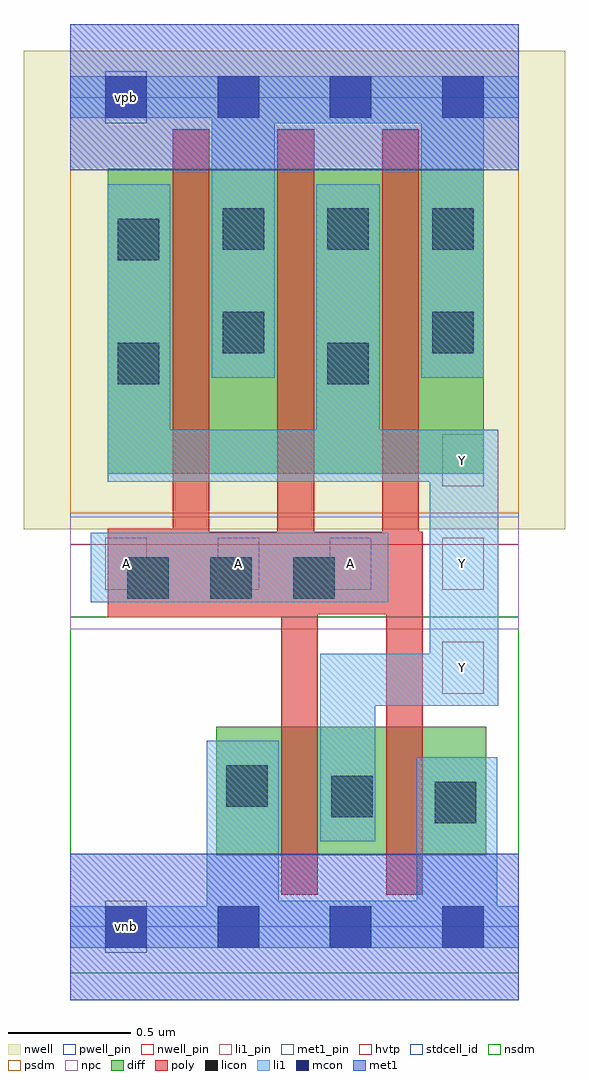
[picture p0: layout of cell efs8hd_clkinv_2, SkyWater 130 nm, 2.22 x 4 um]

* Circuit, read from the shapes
.subckt efs8hd_clkinv_2 A Y vgnd vnb vpb vpwr
XM1 Y A vgnd vnb sky130_fd_pr__nfet_01v8 w=0.525 l=0.15 m=2
XM2 vpwr A Y vpb sky130_fd_pr__pfet_01v8_hvt w=1.25 l=0.15 m=3
.ends

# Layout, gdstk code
import gdstk
lib = gdstk.Library(unit=1e-6, precision=1e-09)
def R(c, l, rs):  # rectangles x0, y0, x1, y1
    for r in rs: c.add(gdstk.rectangle(r[:2], r[2:], *l))
def A(c, l, x, y, w, h, nx, ny, dx, dy):  # array of equal rectangles
    R(c, l, [(x+i*dx, y+j*dy, x+i*dx+w, y+j*dy+h) for i in range(nx) for j in range(ny)])
def P(c, l, *ps):  # polygons
    for p in ps: c.add(gdstk.Polygon(p, *l))
nwell_pin = (64, 16)
nwell = (64, 20)
diff = (65, 20)
poly = (66, 20)
licon = (66, 44)
li1_pin = (67, 16)
li1 = (67, 20)
mcon = (67, 44)
met1_pin = (68, 16)
met1 = (68, 20)
hvtp = (78, 44)
stdcell_id = (81, 4)
nsdm = (93, 44)
psdm = (94, 20)
npc = (95, 20)
pwell_pin = (122, 16)

efs8hd_clkinv_2 = lib.new_cell('efs8hd_clkinv_2')
R(efs8hd_clkinv_2, nwell_pin, [(0.145,3.294,0.315,3.506)])
R(efs8hd_clkinv_2, nwell, [(-0.19,1.63,2.03,3.59)])
R(efs8hd_clkinv_2, diff, [(0.6,0.294,1.705,0.819), (0.155,1.856,1.695,3.106)])
P(efs8hd_clkinv_2, poly, [(1.28,3.269),(1.28,1.619),(1,1.619),(1,3.269),(0.85,3.269),(0.85,1.619),(0.57,1.619),(0.57,3.269),(0.42,3.269),(0.42,1.631),(0.155,1.631),(0.155,1.269),(0.865,1.269),(0.865,0.131),(1.015,0.131),(1.015,1.281),(1.295,1.281),(1.295,0.131),(1.445,0.131),(1.445,1.619),(1.43,1.619),(1.43,3.269)])
A(efs8hd_clkinv_2, licon, 0.235, 1.344, 0.17, 0.17, 3, 1, 0.34, 0)
R(efs8hd_clkinv_2, licon, [(1.495,0.424,1.665,0.594), (1.07,0.45,1.24,0.62), (0.64,0.493,0.81,0.663), (0.195,2.224,0.365,2.394), (1.055,2.224,1.225,2.394), (0.625,2.35,0.795,2.52), (1.485,2.35,1.655,2.52), (0.195,2.731,0.365,2.901), (1.055,2.774,1.225,2.944), (0.625,2.775,0.795,2.945), (1.485,2.775,1.655,2.945)])
A(efs8hd_clkinv_2, li1_pin, 0.145, 1.381, 0.17, 0.213, 4, 1, 0.46, 0)
R(efs8hd_clkinv_2, li1_pin, [(1.525,0.956,1.695,1.169), (1.525,1.806,1.695,2.019)])
R(efs8hd_clkinv_2, li1, [(0.085,1.331,1.305,1.615)])
P(efs8hd_clkinv_2, li1, [(0.56,0.763),(0.56,0.085),(0,0.085),(0,-0.085),(1.84,-0.085),(1.84,0.085),(1.75,0.085),(1.75,0.694),(1.42,0.694),(1.42,0.106),(0.855,0.106),(0.855,0.763)],
  [(1.01,3.044),(1.01,2.038),(0.41,2.038),(0.41,3.044),(0.155,3.044),(0.155,1.825),(1.475,1.825),(1.475,1.119),(1.025,1.119),(1.025,0.35),(1.25,0.35),(1.25,0.906),(1.755,0.906),(1.755,2.038),(1.27,2.038),(1.27,3.044)],
  [(0,3.485),(0,3.315),(0.58,3.315),(0.58,2.25),(0.84,2.25),(0.84,3.294),(1.44,3.294),(1.44,2.25),(1.695,2.25),(1.695,3.315),(1.84,3.315),(1.84,3.485)])
R(efs8hd_clkinv_2, mcon, [(0.145,-0.085,0.315,0.085), (0.145,-0.085,0.315,0.085), (0.145,-0.085,0.315,0.085), (0.145,-0.085,0.315,0.085), (0.145,-0.085,0.315,0.085), (0.145,-0.085,0.315,0.085), (0.145,-0.085,0.315,0.085), (0.145,-0.085,0.315,0.085), (0.145,-0.085,0.315,0.085), (0.145,-0.085,0.315,0.085), (0.145,-0.085,0.315,0.085), (0.145,-0.085,0.315,0.085), (0.145,-0.085,0.315,0.085), (0.145,-0.085,0.315,0.085), (0.145,-0.085,0.315,0.085), (0.145,-0.085,0.315,0.085), (0.145,-0.085,0.315,0.085), (0.145,-0.085,0.315,0.085), (0.145,-0.085,0.315,0.085), (0.145,-0.085,0.315,0.085), (0.145,-0.085,0.315,0.085), (0.145,-0.085,0.315,0.085), (0.145,-0.085,0.315,0.085), (0.145,-0.085,0.315,0.085), (0.145,-0.085,0.315,0.085), (0.145,-0.085,0.315,0.085), (0.145,-0.085,0.315,0.085), (0.145,-0.085,0.315,0.085), (0.145,-0.085,0.315,0.085), (0.145,-0.085,0.315,0.085), (0.145,-0.085,0.315,0.085), (0.145,-0.085,0.315,0.085), (0.145,-0.085,0.315,0.085), (0.145,-0.085,0.315,0.085), (0.145,-0.085,0.315,0.085), (0.145,-0.085,0.315,0.085), (0.145,-0.085,0.315,0.085), (0.145,-0.085,0.315,0.085), (0.145,-0.085,0.315,0.085), (0.145,-0.085,0.315,0.085), (0.145,-0.085,0.315,0.085), (0.145,-0.085,0.315,0.085), (0.145,-0.085,0.315,0.085), (0.145,-0.085,0.315,0.085), (0.145,-0.085,0.315,0.085), (0.145,-0.085,0.315,0.085), (0.145,-0.085,0.315,0.085), (0.145,-0.085,0.315,0.085), (0.145,-0.085,0.315,0.085), (0.145,-0.085,0.315,0.085), (0.145,-0.085,0.315,0.085), (0.145,-0.085,0.315,0.085), (0.145,-0.085,0.315,0.085), (0.145,-0.085,0.315,0.085), (0.145,-0.085,0.315,0.085), (0.145,-0.085,0.315,0.085), (0.145,-0.085,0.315,0.085), (0.145,-0.085,0.315,0.085), (0.145,-0.085,0.315,0.085), (0.145,-0.085,0.315,0.085), (0.145,-0.085,0.315,0.085), (0.145,-0.085,0.315,0.085), (0.145,-0.085,0.315,0.085), (0.145,-0.085,0.315,0.085), (0.145,-0.085,0.315,0.085), (0.145,-0.085,0.315,0.085), (0.145,-0.085,0.315,0.085), (0.145,-0.085,0.315,0.085), (0.145,-0.085,0.315,0.085), (0.145,-0.085,0.315,0.085), (0.145,-0.085,0.315,0.085), (0.145,-0.085,0.315,0.085), (0.145,-0.085,0.315,0.085), (0.145,-0.085,0.315,0.085), (0.145,-0.085,0.315,0.085), (0.145,-0.085,0.315,0.085), (0.145,-0.085,0.315,0.085), (0.145,-0.085,0.315,0.085), (0.145,-0.085,0.315,0.085), (0.145,-0.085,0.315,0.085), (0.145,-0.085,0.315,0.085), (0.145,-0.085,0.315,0.085), (0.145,-0.085,0.315,0.085), (0.145,-0.085,0.315,0.085), (0.145,-0.085,0.315,0.085), (0.145,-0.085,0.315,0.085), (0.145,-0.085,0.315,0.085), (0.145,-0.085,0.315,0.085), (0.145,-0.085,0.315,0.085), (0.145,-0.085,0.315,0.085), (0.145,-0.085,0.315,0.085), (0.145,-0.085,0.315,0.085), (0.145,-0.085,0.315,0.085), (0.145,-0.085,0.315,0.085), (0.145,-0.085,0.315,0.085), (0.145,-0.085,0.315,0.085), (0.145,-0.085,0.315,0.085), (0.145,-0.085,0.315,0.085), (0.145,-0.085,0.315,0.085), (0.145,-0.085,0.315,0.085), (0.145,-0.085,0.315,0.085), (0.145,-0.085,0.315,0.085), (0.145,-0.085,0.315,0.085), (0.145,-0.085,0.315,0.085), (0.145,-0.085,0.315,0.085), (0.145,-0.085,0.315,0.085), (0.145,-0.085,0.315,0.085), (0.145,-0.085,0.315,0.085), (0.145,-0.085,0.315,0.085), (0.605,-0.085,0.775,0.085), (0.605,-0.085,0.775,0.085), (0.605,-0.085,0.775,0.085), (0.605,-0.085,0.775,0.085), (0.605,-0.085,0.775,0.085), (0.605,-0.085,0.775,0.085), (0.605,-0.085,0.775,0.085), (0.605,-0.085,0.775,0.085), (0.605,-0.085,0.775,0.085), (0.605,-0.085,0.775,0.085), (0.605,-0.085,0.775,0.085), (0.605,-0.085,0.775,0.085), (0.605,-0.085,0.775,0.085), (0.605,-0.085,0.775,0.085), (0.605,-0.085,0.775,0.085), (0.605,-0.085,0.775,0.085), (0.605,-0.085,0.775,0.085), (0.605,-0.085,0.775,0.085), (0.605,-0.085,0.775,0.085), (0.605,-0.085,0.775,0.085), (0.605,-0.085,0.775,0.085), (0.605,-0.085,0.775,0.085), (0.605,-0.085,0.775,0.085), (0.605,-0.085,0.775,0.085), (0.605,-0.085,0.775,0.085), (0.605,-0.085,0.775,0.085), (0.605,-0.085,0.775,0.085), (0.605,-0.085,0.775,0.085), (0.605,-0.085,0.775,0.085), (0.605,-0.085,0.775,0.085), (0.605,-0.085,0.775,0.085), (0.605,-0.085,0.775,0.085), (0.605,-0.085,0.775,0.085), (0.605,-0.085,0.775,0.085), (0.605,-0.085,0.775,0.085), (0.605,-0.085,0.775,0.085), (0.605,-0.085,0.775,0.085), (0.605,-0.085,0.775,0.085), (0.605,-0.085,0.775,0.085), (0.605,-0.085,0.775,0.085), (0.605,-0.085,0.775,0.085), (0.605,-0.085,0.775,0.085), (0.605,-0.085,0.775,0.085), (0.605,-0.085,0.775,0.085), (0.605,-0.085,0.775,0.085), (0.605,-0.085,0.775,0.085), (0.605,-0.085,0.775,0.085), (0.605,-0.085,0.775,0.085), (0.605,-0.085,0.775,0.085), (0.605,-0.085,0.775,0.085), (0.605,-0.085,0.775,0.085), (0.605,-0.085,0.775,0.085), (0.605,-0.085,0.775,0.085), (0.605,-0.085,0.775,0.085), (0.605,-0.085,0.775,0.085), (0.605,-0.085,0.775,0.085), (0.605,-0.085,0.775,0.085), (0.605,-0.085,0.775,0.085), (0.605,-0.085,0.775,0.085), (0.605,-0.085,0.775,0.085), (0.605,-0.085,0.775,0.085), (0.605,-0.085,0.775,0.085), (0.605,-0.085,0.775,0.085), (0.605,-0.085,0.775,0.085), (0.605,-0.085,0.775,0.085), (0.605,-0.085,0.775,0.085), (0.605,-0.085,0.775,0.085), (0.605,-0.085,0.775,0.085), (0.605,-0.085,0.775,0.085), (0.605,-0.085,0.775,0.085), (0.605,-0.085,0.775,0.085), (0.605,-0.085,0.775,0.085), (0.605,-0.085,0.775,0.085), (0.605,-0.085,0.775,0.085), (0.605,-0.085,0.775,0.085), (0.605,-0.085,0.775,0.085), (0.605,-0.085,0.775,0.085), (0.605,-0.085,0.775,0.085), (0.605,-0.085,0.775,0.085), (0.605,-0.085,0.775,0.085), (0.605,-0.085,0.775,0.085), (0.605,-0.085,0.775,0.085), (0.605,-0.085,0.775,0.085), (0.605,-0.085,0.775,0.085), (0.605,-0.085,0.775,0.085), (0.605,-0.085,0.775,0.085), (0.605,-0.085,0.775,0.085), (0.605,-0.085,0.775,0.085), (0.605,-0.085,0.775,0.085), (0.605,-0.085,0.775,0.085), (0.605,-0.085,0.775,0.085), (0.605,-0.085,0.775,0.085), (0.605,-0.085,0.775,0.085), (0.605,-0.085,0.775,0.085), (0.605,-0.085,0.775,0.085), (0.605,-0.085,0.775,0.085), (0.605,-0.085,0.775,0.085), (0.605,-0.085,0.775,0.085), (0.605,-0.085,0.775,0.085), (0.605,-0.085,0.775,0.085), (0.605,-0.085,0.775,0.085), (0.605,-0.085,0.775,0.085), (0.605,-0.085,0.775,0.085), (0.605,-0.085,0.775,0.085), (0.605,-0.085,0.775,0.085), (0.605,-0.085,0.775,0.085), (0.605,-0.085,0.775,0.085), (0.605,-0.085,0.775,0.085), (0.605,-0.085,0.775,0.085), (1.065,-0.085,1.235,0.085), (1.065,-0.085,1.235,0.085), (1.065,-0.085,1.235,0.085), (1.065,-0.085,1.235,0.085), (1.065,-0.085,1.235,0.085), (1.065,-0.085,1.235,0.085), (1.065,-0.085,1.235,0.085), (1.065,-0.085,1.235,0.085), (1.065,-0.085,1.235,0.085), (1.065,-0.085,1.235,0.085), (1.065,-0.085,1.235,0.085), (1.065,-0.085,1.235,0.085), (1.065,-0.085,1.235,0.085), (1.065,-0.085,1.235,0.085), (1.065,-0.085,1.235,0.085), (1.065,-0.085,1.235,0.085), (1.065,-0.085,1.235,0.085), (1.065,-0.085,1.235,0.085), (1.065,-0.085,1.235,0.085), (1.065,-0.085,1.235,0.085), (1.065,-0.085,1.235,0.085), (1.065,-0.085,1.235,0.085), (1.065,-0.085,1.235,0.085), (1.065,-0.085,1.235,0.085), (1.065,-0.085,1.235,0.085), (1.065,-0.085,1.235,0.085), (1.065,-0.085,1.235,0.085), (1.065,-0.085,1.235,0.085), (1.065,-0.085,1.235,0.085), (1.065,-0.085,1.235,0.085), (1.065,-0.085,1.235,0.085), (1.065,-0.085,1.235,0.085), (1.065,-0.085,1.235,0.085), (1.065,-0.085,1.235,0.085), (1.065,-0.085,1.235,0.085), (1.065,-0.085,1.235,0.085), (1.065,-0.085,1.235,0.085), (1.065,-0.085,1.235,0.085), (1.065,-0.085,1.235,0.085), (1.065,-0.085,1.235,0.085), (1.065,-0.085,1.235,0.085), (1.065,-0.085,1.235,0.085), (1.065,-0.085,1.235,0.085), (1.065,-0.085,1.235,0.085), (1.065,-0.085,1.235,0.085), (1.065,-0.085,1.235,0.085), (1.065,-0.085,1.235,0.085), (1.065,-0.085,1.235,0.085), (1.065,-0.085,1.235,0.085), (1.065,-0.085,1.235,0.085), (1.065,-0.085,1.235,0.085), (1.065,-0.085,1.235,0.085), (1.065,-0.085,1.235,0.085), (1.065,-0.085,1.235,0.085), (1.065,-0.085,1.235,0.085), (1.065,-0.085,1.235,0.085), (1.065,-0.085,1.235,0.085), (1.065,-0.085,1.235,0.085), (1.065,-0.085,1.235,0.085), (1.065,-0.085,1.235,0.085), (1.065,-0.085,1.235,0.085), (1.065,-0.085,1.235,0.085), (1.065,-0.085,1.235,0.085), (1.065,-0.085,1.235,0.085), (1.065,-0.085,1.235,0.085), (1.065,-0.085,1.235,0.085), (1.065,-0.085,1.235,0.085), (1.065,-0.085,1.235,0.085), (1.065,-0.085,1.235,0.085), (1.065,-0.085,1.235,0.085), (1.065,-0.085,1.235,0.085), (1.065,-0.085,1.235,0.085), (1.065,-0.085,1.235,0.085), (1.065,-0.085,1.235,0.085), (1.065,-0.085,1.235,0.085), (1.065,-0.085,1.235,0.085), (1.065,-0.085,1.235,0.085), (1.065,-0.085,1.235,0.085), (1.065,-0.085,1.235,0.085), (1.065,-0.085,1.235,0.085), (1.065,-0.085,1.235,0.085), (1.065,-0.085,1.235,0.085), (1.065,-0.085,1.235,0.085), (1.065,-0.085,1.235,0.085), (1.065,-0.085,1.235,0.085), (1.065,-0.085,1.235,0.085), (1.065,-0.085,1.235,0.085), (1.065,-0.085,1.235,0.085), (1.065,-0.085,1.235,0.085), (1.065,-0.085,1.235,0.085), (1.065,-0.085,1.235,0.085), (1.065,-0.085,1.235,0.085), (1.065,-0.085,1.235,0.085), (1.065,-0.085,1.235,0.085), (1.065,-0.085,1.235,0.085), (1.065,-0.085,1.235,0.085), (1.065,-0.085,1.235,0.085), (1.065,-0.085,1.235,0.085), (1.065,-0.085,1.235,0.085), (1.065,-0.085,1.235,0.085), (1.065,-0.085,1.235,0.085), (1.065,-0.085,1.235,0.085), (1.065,-0.085,1.235,0.085), (1.065,-0.085,1.235,0.085), (1.065,-0.085,1.235,0.085), (1.065,-0.085,1.235,0.085), (1.065,-0.085,1.235,0.085), (1.065,-0.085,1.235,0.085), (1.065,-0.085,1.235,0.085), (1.525,-0.085,1.695,0.085), (1.525,-0.085,1.695,0.085), (1.525,-0.085,1.695,0.085), (1.525,-0.085,1.695,0.085), (1.525,-0.085,1.695,0.085), (1.525,-0.085,1.695,0.085), (1.525,-0.085,1.695,0.085), (1.525,-0.085,1.695,0.085), (1.525,-0.085,1.695,0.085), (1.525,-0.085,1.695,0.085), (1.525,-0.085,1.695,0.085), (1.525,-0.085,1.695,0.085), (1.525,-0.085,1.695,0.085), (1.525,-0.085,1.695,0.085), (1.525,-0.085,1.695,0.085), (1.525,-0.085,1.695,0.085), (1.525,-0.085,1.695,0.085), (1.525,-0.085,1.695,0.085), (1.525,-0.085,1.695,0.085), (1.525,-0.085,1.695,0.085), (1.525,-0.085,1.695,0.085), (1.525,-0.085,1.695,0.085), (1.525,-0.085,1.695,0.085), (1.525,-0.085,1.695,0.085), (1.525,-0.085,1.695,0.085), (1.525,-0.085,1.695,0.085), (1.525,-0.085,1.695,0.085), (1.525,-0.085,1.695,0.085), (1.525,-0.085,1.695,0.085), (1.525,-0.085,1.695,0.085), (1.525,-0.085,1.695,0.085), (1.525,-0.085,1.695,0.085), (1.525,-0.085,1.695,0.085), (1.525,-0.085,1.695,0.085), (1.525,-0.085,1.695,0.085), (1.525,-0.085,1.695,0.085), (1.525,-0.085,1.695,0.085), (1.525,-0.085,1.695,0.085), (1.525,-0.085,1.695,0.085), (1.525,-0.085,1.695,0.085), (1.525,-0.085,1.695,0.085), (1.525,-0.085,1.695,0.085), (1.525,-0.085,1.695,0.085), (1.525,-0.085,1.695,0.085), (1.525,-0.085,1.695,0.085), (1.525,-0.085,1.695,0.085), (1.525,-0.085,1.695,0.085), (1.525,-0.085,1.695,0.085), (1.525,-0.085,1.695,0.085), (1.525,-0.085,1.695,0.085), (1.525,-0.085,1.695,0.085), (1.525,-0.085,1.695,0.085), (1.525,-0.085,1.695,0.085), (1.525,-0.085,1.695,0.085), (1.525,-0.085,1.695,0.085), (1.525,-0.085,1.695,0.085), (1.525,-0.085,1.695,0.085), (1.525,-0.085,1.695,0.085), (1.525,-0.085,1.695,0.085), (1.525,-0.085,1.695,0.085), (1.525,-0.085,1.695,0.085), (1.525,-0.085,1.695,0.085), (1.525,-0.085,1.695,0.085), (1.525,-0.085,1.695,0.085), (1.525,-0.085,1.695,0.085), (1.525,-0.085,1.695,0.085), (1.525,-0.085,1.695,0.085), (1.525,-0.085,1.695,0.085), (1.525,-0.085,1.695,0.085), (1.525,-0.085,1.695,0.085), (1.525,-0.085,1.695,0.085), (1.525,-0.085,1.695,0.085), (1.525,-0.085,1.695,0.085), (1.525,-0.085,1.695,0.085), (1.525,-0.085,1.695,0.085), (1.525,-0.085,1.695,0.085), (1.525,-0.085,1.695,0.085), (1.525,-0.085,1.695,0.085), (1.525,-0.085,1.695,0.085), (1.525,-0.085,1.695,0.085), (1.525,-0.085,1.695,0.085), (1.525,-0.085,1.695,0.085), (1.525,-0.085,1.695,0.085), (1.525,-0.085,1.695,0.085), (1.525,-0.085,1.695,0.085), (1.525,-0.085,1.695,0.085), (1.525,-0.085,1.695,0.085), (1.525,-0.085,1.695,0.085), (1.525,-0.085,1.695,0.085), (1.525,-0.085,1.695,0.085), (1.525,-0.085,1.695,0.085), (1.525,-0.085,1.695,0.085), (1.525,-0.085,1.695,0.085), (1.525,-0.085,1.695,0.085), (1.525,-0.085,1.695,0.085), (1.525,-0.085,1.695,0.085), (1.525,-0.085,1.695,0.085), (1.525,-0.085,1.695,0.085), (1.525,-0.085,1.695,0.085), (1.525,-0.085,1.695,0.085), (1.525,-0.085,1.695,0.085), (1.525,-0.085,1.695,0.085), (1.525,-0.085,1.695,0.085), (1.525,-0.085,1.695,0.085), (1.525,-0.085,1.695,0.085), (1.525,-0.085,1.695,0.085), (1.525,-0.085,1.695,0.085), (1.525,-0.085,1.695,0.085), (1.525,-0.085,1.695,0.085), (0.145,3.315,0.315,3.485), (0.145,3.315,0.315,3.485), (0.145,3.315,0.315,3.485), (0.145,3.315,0.315,3.485), (0.145,3.315,0.315,3.485), (0.145,3.315,0.315,3.485), (0.145,3.315,0.315,3.485), (0.145,3.315,0.315,3.485), (0.145,3.315,0.315,3.485), (0.145,3.315,0.315,3.485), (0.145,3.315,0.315,3.485), (0.145,3.315,0.315,3.485), (0.145,3.315,0.315,3.485), (0.145,3.315,0.315,3.485), (0.145,3.315,0.315,3.485), (0.145,3.315,0.315,3.485), (0.145,3.315,0.315,3.485), (0.145,3.315,0.315,3.485), (0.145,3.315,0.315,3.485), (0.145,3.315,0.315,3.485), (0.145,3.315,0.315,3.485), (0.145,3.315,0.315,3.485), (0.145,3.315,0.315,3.485), (0.145,3.315,0.315,3.485), (0.145,3.315,0.315,3.485), (0.145,3.315,0.315,3.485), (0.145,3.315,0.315,3.485), (0.145,3.315,0.315,3.485), (0.145,3.315,0.315,3.485), (0.145,3.315,0.315,3.485), (0.145,3.315,0.315,3.485), (0.145,3.315,0.315,3.485), (0.145,3.315,0.315,3.485), (0.145,3.315,0.315,3.485), (0.145,3.315,0.315,3.485), (0.145,3.315,0.315,3.485), (0.145,3.315,0.315,3.485), (0.145,3.315,0.315,3.485), (0.145,3.315,0.315,3.485), (0.145,3.315,0.315,3.485), (0.145,3.315,0.315,3.485), (0.145,3.315,0.315,3.485), (0.145,3.315,0.315,3.485), (0.145,3.315,0.315,3.485), (0.145,3.315,0.315,3.485), (0.145,3.315,0.315,3.485), (0.145,3.315,0.315,3.485), (0.145,3.315,0.315,3.485), (0.145,3.315,0.315,3.485), (0.145,3.315,0.315,3.485), (0.145,3.315,0.315,3.485), (0.145,3.315,0.315,3.485), (0.145,3.315,0.315,3.485), (0.145,3.315,0.315,3.485), (0.145,3.315,0.315,3.485), (0.145,3.315,0.315,3.485), (0.145,3.315,0.315,3.485), (0.145,3.315,0.315,3.485), (0.145,3.315,0.315,3.485), (0.145,3.315,0.315,3.485), (0.145,3.315,0.315,3.485), (0.145,3.315,0.315,3.485), (0.145,3.315,0.315,3.485), (0.145,3.315,0.315,3.485), (0.145,3.315,0.315,3.485), (0.145,3.315,0.315,3.485), (0.145,3.315,0.315,3.485), (0.145,3.315,0.315,3.485), (0.145,3.315,0.315,3.485), (0.145,3.315,0.315,3.485), (0.145,3.315,0.315,3.485), (0.145,3.315,0.315,3.485), (0.145,3.315,0.315,3.485), (0.145,3.315,0.315,3.485), (0.145,3.315,0.315,3.485), (0.145,3.315,0.315,3.485), (0.145,3.315,0.315,3.485), (0.145,3.315,0.315,3.485), (0.145,3.315,0.315,3.485), (0.145,3.315,0.315,3.485), (0.145,3.315,0.315,3.485), (0.145,3.315,0.315,3.485), (0.145,3.315,0.315,3.485), (0.145,3.315,0.315,3.485), (0.145,3.315,0.315,3.485), (0.145,3.315,0.315,3.485), (0.145,3.315,0.315,3.485), (0.145,3.315,0.315,3.485), (0.145,3.315,0.315,3.485), (0.145,3.315,0.315,3.485), (0.145,3.315,0.315,3.485), (0.145,3.315,0.315,3.485), (0.145,3.315,0.315,3.485), (0.145,3.315,0.315,3.485), (0.145,3.315,0.315,3.485), (0.145,3.315,0.315,3.485), (0.145,3.315,0.315,3.485), (0.145,3.315,0.315,3.485), (0.145,3.315,0.315,3.485), (0.145,3.315,0.315,3.485), (0.145,3.315,0.315,3.485), (0.145,3.315,0.315,3.485), (0.145,3.315,0.315,3.485), (0.145,3.315,0.315,3.485), (0.145,3.315,0.315,3.485), (0.145,3.315,0.315,3.485), (0.145,3.315,0.315,3.485), (0.145,3.315,0.315,3.485), (0.145,3.315,0.315,3.485), (0.605,3.315,0.775,3.485), (0.605,3.315,0.775,3.485), (0.605,3.315,0.775,3.485), (0.605,3.315,0.775,3.485), (0.605,3.315,0.775,3.485), (0.605,3.315,0.775,3.485), (0.605,3.315,0.775,3.485), (0.605,3.315,0.775,3.485), (0.605,3.315,0.775,3.485), (0.605,3.315,0.775,3.485), (0.605,3.315,0.775,3.485), (0.605,3.315,0.775,3.485), (0.605,3.315,0.775,3.485), (0.605,3.315,0.775,3.485), (0.605,3.315,0.775,3.485), (0.605,3.315,0.775,3.485), (0.605,3.315,0.775,3.485), (0.605,3.315,0.775,3.485), (0.605,3.315,0.775,3.485), (0.605,3.315,0.775,3.485), (0.605,3.315,0.775,3.485), (0.605,3.315,0.775,3.485), (0.605,3.315,0.775,3.485), (0.605,3.315,0.775,3.485), (0.605,3.315,0.775,3.485), (0.605,3.315,0.775,3.485), (0.605,3.315,0.775,3.485), (0.605,3.315,0.775,3.485), (0.605,3.315,0.775,3.485), (0.605,3.315,0.775,3.485), (0.605,3.315,0.775,3.485), (0.605,3.315,0.775,3.485), (0.605,3.315,0.775,3.485), (0.605,3.315,0.775,3.485), (0.605,3.315,0.775,3.485), (0.605,3.315,0.775,3.485), (0.605,3.315,0.775,3.485), (0.605,3.315,0.775,3.485), (0.605,3.315,0.775,3.485), (0.605,3.315,0.775,3.485), (0.605,3.315,0.775,3.485), (0.605,3.315,0.775,3.485), (0.605,3.315,0.775,3.485), (0.605,3.315,0.775,3.485), (0.605,3.315,0.775,3.485), (0.605,3.315,0.775,3.485), (0.605,3.315,0.775,3.485), (0.605,3.315,0.775,3.485), (0.605,3.315,0.775,3.485), (0.605,3.315,0.775,3.485), (0.605,3.315,0.775,3.485), (0.605,3.315,0.775,3.485), (0.605,3.315,0.775,3.485), (0.605,3.315,0.775,3.485), (0.605,3.315,0.775,3.485), (0.605,3.315,0.775,3.485), (0.605,3.315,0.775,3.485), (0.605,3.315,0.775,3.485), (0.605,3.315,0.775,3.485), (0.605,3.315,0.775,3.485), (0.605,3.315,0.775,3.485), (0.605,3.315,0.775,3.485), (0.605,3.315,0.775,3.485), (0.605,3.315,0.775,3.485), (0.605,3.315,0.775,3.485), (0.605,3.315,0.775,3.485), (0.605,3.315,0.775,3.485), (0.605,3.315,0.775,3.485), (0.605,3.315,0.775,3.485), (0.605,3.315,0.775,3.485), (0.605,3.315,0.775,3.485), (0.605,3.315,0.775,3.485), (0.605,3.315,0.775,3.485), (0.605,3.315,0.775,3.485), (0.605,3.315,0.775,3.485), (0.605,3.315,0.775,3.485), (0.605,3.315,0.775,3.485), (0.605,3.315,0.775,3.485), (0.605,3.315,0.775,3.485), (0.605,3.315,0.775,3.485), (0.605,3.315,0.775,3.485), (0.605,3.315,0.775,3.485), (0.605,3.315,0.775,3.485), (0.605,3.315,0.775,3.485), (0.605,3.315,0.775,3.485), (0.605,3.315,0.775,3.485), (0.605,3.315,0.775,3.485), (0.605,3.315,0.775,3.485), (0.605,3.315,0.775,3.485), (0.605,3.315,0.775,3.485), (0.605,3.315,0.775,3.485), (0.605,3.315,0.775,3.485), (0.605,3.315,0.775,3.485), (0.605,3.315,0.775,3.485), (0.605,3.315,0.775,3.485), (0.605,3.315,0.775,3.485), (0.605,3.315,0.775,3.485), (0.605,3.315,0.775,3.485), (0.605,3.315,0.775,3.485), (0.605,3.315,0.775,3.485), (0.605,3.315,0.775,3.485), (0.605,3.315,0.775,3.485), (0.605,3.315,0.775,3.485), (0.605,3.315,0.775,3.485), (0.605,3.315,0.775,3.485), (0.605,3.315,0.775,3.485), (0.605,3.315,0.775,3.485), (0.605,3.315,0.775,3.485), (0.605,3.315,0.775,3.485), (1.065,3.315,1.235,3.485), (1.065,3.315,1.235,3.485), (1.065,3.315,1.235,3.485), (1.065,3.315,1.235,3.485), (1.065,3.315,1.235,3.485), (1.065,3.315,1.235,3.485), (1.065,3.315,1.235,3.485), (1.065,3.315,1.235,3.485), (1.065,3.315,1.235,3.485), (1.065,3.315,1.235,3.485), (1.065,3.315,1.235,3.485), (1.065,3.315,1.235,3.485), (1.065,3.315,1.235,3.485), (1.065,3.315,1.235,3.485), (1.065,3.315,1.235,3.485), (1.065,3.315,1.235,3.485), (1.065,3.315,1.235,3.485), (1.065,3.315,1.235,3.485), (1.065,3.315,1.235,3.485), (1.065,3.315,1.235,3.485), (1.065,3.315,1.235,3.485), (1.065,3.315,1.235,3.485), (1.065,3.315,1.235,3.485), (1.065,3.315,1.235,3.485), (1.065,3.315,1.235,3.485), (1.065,3.315,1.235,3.485), (1.065,3.315,1.235,3.485), (1.065,3.315,1.235,3.485), (1.065,3.315,1.235,3.485), (1.065,3.315,1.235,3.485), (1.065,3.315,1.235,3.485), (1.065,3.315,1.235,3.485), (1.065,3.315,1.235,3.485), (1.065,3.315,1.235,3.485), (1.065,3.315,1.235,3.485), (1.065,3.315,1.235,3.485), (1.065,3.315,1.235,3.485), (1.065,3.315,1.235,3.485), (1.065,3.315,1.235,3.485), (1.065,3.315,1.235,3.485), (1.065,3.315,1.235,3.485), (1.065,3.315,1.235,3.485), (1.065,3.315,1.235,3.485), (1.065,3.315,1.235,3.485), (1.065,3.315,1.235,3.485), (1.065,3.315,1.235,3.485), (1.065,3.315,1.235,3.485), (1.065,3.315,1.235,3.485), (1.065,3.315,1.235,3.485), (1.065,3.315,1.235,3.485), (1.065,3.315,1.235,3.485), (1.065,3.315,1.235,3.485), (1.065,3.315,1.235,3.485), (1.065,3.315,1.235,3.485), (1.065,3.315,1.235,3.485), (1.065,3.315,1.235,3.485), (1.065,3.315,1.235,3.485), (1.065,3.315,1.235,3.485), (1.065,3.315,1.235,3.485), (1.065,3.315,1.235,3.485), (1.065,3.315,1.235,3.485), (1.065,3.315,1.235,3.485), (1.065,3.315,1.235,3.485), (1.065,3.315,1.235,3.485), (1.065,3.315,1.235,3.485), (1.065,3.315,1.235,3.485), (1.065,3.315,1.235,3.485), (1.065,3.315,1.235,3.485), (1.065,3.315,1.235,3.485), (1.065,3.315,1.235,3.485), (1.065,3.315,1.235,3.485), (1.065,3.315,1.235,3.485), (1.065,3.315,1.235,3.485), (1.065,3.315,1.235,3.485), (1.065,3.315,1.235,3.485), (1.065,3.315,1.235,3.485), (1.065,3.315,1.235,3.485), (1.065,3.315,1.235,3.485), (1.065,3.315,1.235,3.485), (1.065,3.315,1.235,3.485), (1.065,3.315,1.235,3.485), (1.065,3.315,1.235,3.485), (1.065,3.315,1.235,3.485), (1.065,3.315,1.235,3.485), (1.065,3.315,1.235,3.485), (1.065,3.315,1.235,3.485), (1.065,3.315,1.235,3.485), (1.065,3.315,1.235,3.485), (1.065,3.315,1.235,3.485), (1.065,3.315,1.235,3.485), (1.065,3.315,1.235,3.485), (1.065,3.315,1.235,3.485), (1.065,3.315,1.235,3.485), (1.065,3.315,1.235,3.485), (1.065,3.315,1.235,3.485), (1.065,3.315,1.235,3.485), (1.065,3.315,1.235,3.485), (1.065,3.315,1.235,3.485), (1.065,3.315,1.235,3.485), (1.065,3.315,1.235,3.485), (1.065,3.315,1.235,3.485), (1.065,3.315,1.235,3.485), (1.065,3.315,1.235,3.485), (1.065,3.315,1.235,3.485), (1.065,3.315,1.235,3.485), (1.065,3.315,1.235,3.485), (1.065,3.315,1.235,3.485), (1.065,3.315,1.235,3.485), (1.065,3.315,1.235,3.485), (1.525,3.315,1.695,3.485), (1.525,3.315,1.695,3.485), (1.525,3.315,1.695,3.485), (1.525,3.315,1.695,3.485), (1.525,3.315,1.695,3.485), (1.525,3.315,1.695,3.485), (1.525,3.315,1.695,3.485), (1.525,3.315,1.695,3.485), (1.525,3.315,1.695,3.485), (1.525,3.315,1.695,3.485), (1.525,3.315,1.695,3.485), (1.525,3.315,1.695,3.485), (1.525,3.315,1.695,3.485), (1.525,3.315,1.695,3.485), (1.525,3.315,1.695,3.485), (1.525,3.315,1.695,3.485), (1.525,3.315,1.695,3.485), (1.525,3.315,1.695,3.485), (1.525,3.315,1.695,3.485), (1.525,3.315,1.695,3.485), (1.525,3.315,1.695,3.485), (1.525,3.315,1.695,3.485), (1.525,3.315,1.695,3.485), (1.525,3.315,1.695,3.485), (1.525,3.315,1.695,3.485), (1.525,3.315,1.695,3.485), (1.525,3.315,1.695,3.485), (1.525,3.315,1.695,3.485), (1.525,3.315,1.695,3.485), (1.525,3.315,1.695,3.485), (1.525,3.315,1.695,3.485), (1.525,3.315,1.695,3.485), (1.525,3.315,1.695,3.485), (1.525,3.315,1.695,3.485), (1.525,3.315,1.695,3.485), (1.525,3.315,1.695,3.485), (1.525,3.315,1.695,3.485), (1.525,3.315,1.695,3.485), (1.525,3.315,1.695,3.485), (1.525,3.315,1.695,3.485), (1.525,3.315,1.695,3.485), (1.525,3.315,1.695,3.485), (1.525,3.315,1.695,3.485), (1.525,3.315,1.695,3.485), (1.525,3.315,1.695,3.485), (1.525,3.315,1.695,3.485), (1.525,3.315,1.695,3.485), (1.525,3.315,1.695,3.485), (1.525,3.315,1.695,3.485), (1.525,3.315,1.695,3.485), (1.525,3.315,1.695,3.485), (1.525,3.315,1.695,3.485), (1.525,3.315,1.695,3.485), (1.525,3.315,1.695,3.485), (1.525,3.315,1.695,3.485), (1.525,3.315,1.695,3.485), (1.525,3.315,1.695,3.485), (1.525,3.315,1.695,3.485), (1.525,3.315,1.695,3.485), (1.525,3.315,1.695,3.485), (1.525,3.315,1.695,3.485), (1.525,3.315,1.695,3.485), (1.525,3.315,1.695,3.485), (1.525,3.315,1.695,3.485), (1.525,3.315,1.695,3.485), (1.525,3.315,1.695,3.485), (1.525,3.315,1.695,3.485), (1.525,3.315,1.695,3.485), (1.525,3.315,1.695,3.485), (1.525,3.315,1.695,3.485), (1.525,3.315,1.695,3.485), (1.525,3.315,1.695,3.485), (1.525,3.315,1.695,3.485), (1.525,3.315,1.695,3.485), (1.525,3.315,1.695,3.485), (1.525,3.315,1.695,3.485), (1.525,3.315,1.695,3.485), (1.525,3.315,1.695,3.485), (1.525,3.315,1.695,3.485), (1.525,3.315,1.695,3.485), (1.525,3.315,1.695,3.485), (1.525,3.315,1.695,3.485), (1.525,3.315,1.695,3.485), (1.525,3.315,1.695,3.485), (1.525,3.315,1.695,3.485), (1.525,3.315,1.695,3.485), (1.525,3.315,1.695,3.485), (1.525,3.315,1.695,3.485), (1.525,3.315,1.695,3.485), (1.525,3.315,1.695,3.485), (1.525,3.315,1.695,3.485), (1.525,3.315,1.695,3.485), (1.525,3.315,1.695,3.485), (1.525,3.315,1.695,3.485), (1.525,3.315,1.695,3.485), (1.525,3.315,1.695,3.485), (1.525,3.315,1.695,3.485), (1.525,3.315,1.695,3.485), (1.525,3.315,1.695,3.485), (1.525,3.315,1.695,3.485), (1.525,3.315,1.695,3.485), (1.525,3.315,1.695,3.485), (1.525,3.315,1.695,3.485), (1.525,3.315,1.695,3.485), (1.525,3.315,1.695,3.485), (1.525,3.315,1.695,3.485), (1.525,3.315,1.695,3.485), (1.525,3.315,1.695,3.485), (1.525,3.315,1.695,3.485)])
R(efs8hd_clkinv_2, met1_pin, [(0.145,-0.106,0.315,0.106), (0.145,3.294,0.315,3.506)])
R(efs8hd_clkinv_2, met1, [(0,-0.3,1.84,0.3), (0,3.1,1.84,3.7)])
R(efs8hd_clkinv_2, hvtp, [(0,1.565,1.84,3.4)])
R(efs8hd_clkinv_2, stdcell_id, [(0,0,1.84,3.4)])
R(efs8hd_clkinv_2, nsdm, [(0,-0.19,1.84,1.27)])
R(efs8hd_clkinv_2, psdm, [(0,1.695,1.84,3.59)])
R(efs8hd_clkinv_2, npc, [(0,1.22,1.84,1.68)])
R(efs8hd_clkinv_2, pwell_pin, [(0.145,-0.106,0.315,0.106)])
efs8hd_clkinv_2.add(gdstk.Label('vnb', (0.23,0), layer=64, texttype=59))
efs8hd_clkinv_2.add(gdstk.Label('efs8hd_clkinv_2', (0,0), layer=83, texttype=44))
efs8hd_clkinv_2.add(gdstk.Label('vpb', (0.23,3.4), layer=64, texttype=5))
efs8hd_clkinv_2.add(gdstk.Label('Y', (1.61,1.063), layer=67, texttype=5))
efs8hd_clkinv_2.add(gdstk.Label('A', (0.23,1.488), layer=67, texttype=5))
efs8hd_clkinv_2.add(gdstk.Label('A', (0.69,1.488), layer=67, texttype=5))
efs8hd_clkinv_2.add(gdstk.Label('A', (1.15,1.488), layer=67, texttype=5))
efs8hd_clkinv_2.add(gdstk.Label('Y', (1.61,1.488), layer=67, texttype=5))
efs8hd_clkinv_2.add(gdstk.Label('Y', (1.61,1.913), layer=67, texttype=5))
efs8hd_clkinv_2.add(gdstk.Label('vgnd', (0.23,0), layer=68, texttype=5))
efs8hd_clkinv_2.add(gdstk.Label('vpwr', (0.23,3.4), layer=68, texttype=5))

lib.write_gds('efs8hd_clkinv_2.gds')
